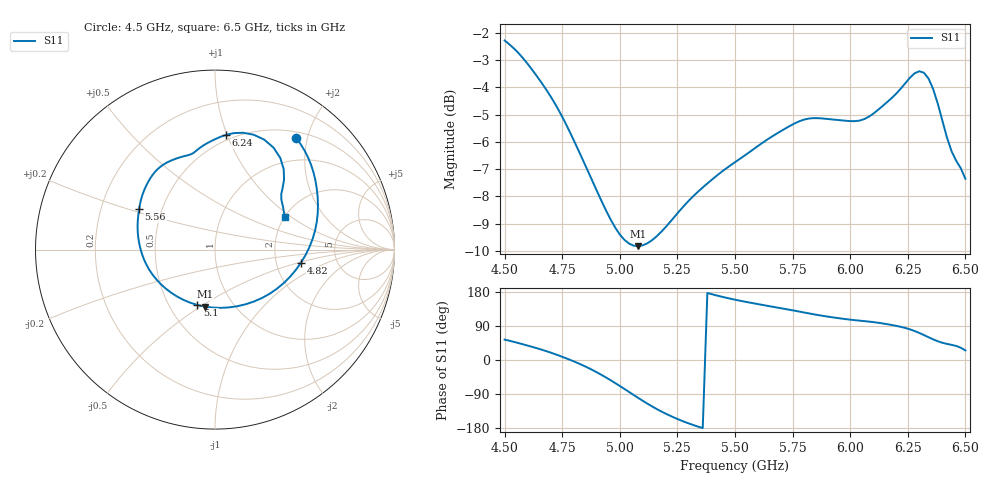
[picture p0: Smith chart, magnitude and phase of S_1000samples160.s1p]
! TOUCHSTONE file generated by CST MICROWAVE STUDIO
! Date and time: Thu Oct 27 05:04:57 2022
! Project name: L.cst
! Parameters = {Di=1.27; Epsilon_r=1.56; InnerDiameter=1.27; Length=2; Lf=10; Lg=60; OuterConductorThickness=0.2921; OuterDiameter=3.6; Wf=3; Wp=41.2; de=1.5; df=6.8; g=0.8; gx=3.13398; gy=1.37895; h=2.34; hf=1.524; px=13.6903; py=12.0426; w=9.7; wx=10.5563; wy=10.6637}
! Header version: 2018
! Port assignment regex: !\s*Touchstone port\s*([0-9]+)\s*=\s*(CST MWS port|CST DS port)\s*([0-9]+|Zmin|Zmax)\s*\(\"(.*)\"\)(\s*mode\s*([0-9]+))?.*
! Touchstone port assignment:
! Touchstone port 1 = CST MWS port 1 ("")
# GHz S DB R 50
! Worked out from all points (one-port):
!   101 points, 4.5 GHz to 6.5 GHz, reference 50 ohm
!   lowest |S11| = -9.8 dB at 5.08 GHz (marker M1), VSWR 1.95, Z = 36.8 - j26.1 ohm
!   |S11| at or under -10 dB: nowhere
!   S11 on the Smith chart (normalised r, x): 4.5 GHz: 0.60, +1.81; 4.82 GHz: 2.76, -0.53; 5.1 GHz: 0.69, -0.47; 5.56 GHz: 0.37, +0.22; 6.24 GHz: 0.46, +0.99; 6.5 GHz: 2.00, +0.90
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4.5  -2.28 53.9
4.58  -2.93 41.4
4.64  -3.59 31.0
4.7  -4.34 19.5
4.76  -5.24 6.2
4.82  -6.30 -8.8
4.92  -8.16 -39.1
5  -9.40 -68.5
5.08  -9.82 -100.1
5.1  -9.79 -107.8
5.18  -9.30 -135.7
5.26  -8.52 -158.1
5.36  -7.67 -179.6
5.5  -6.74 159.1
5.56  -6.39 152.0
5.66  -5.81 140.8
5.76  -5.32 130.0
5.86  -5.13 118.7
6  -5.24 106.5
6.14  -4.69 96.6
6.24  -3.84 84.4
6.26  -3.64 80.8
6.3  -3.41 71.4
6.32  -3.46 65.9
6.36  -4.06 54.5
6.4  -5.22 45.4
6.46  -6.69 37.0
6.5  -7.35 25.2
